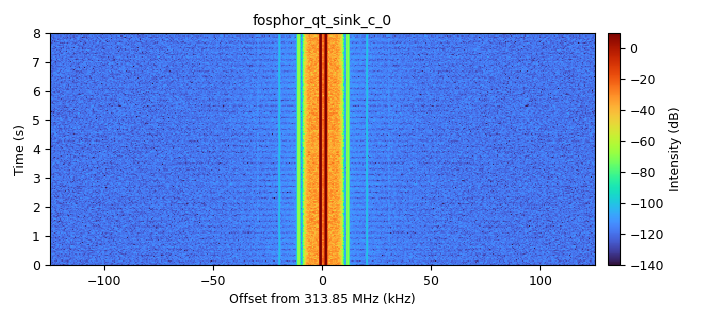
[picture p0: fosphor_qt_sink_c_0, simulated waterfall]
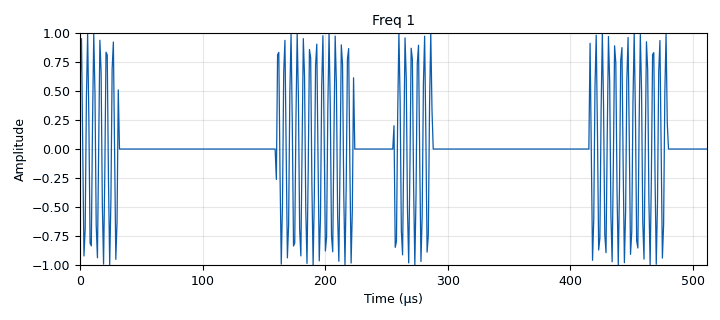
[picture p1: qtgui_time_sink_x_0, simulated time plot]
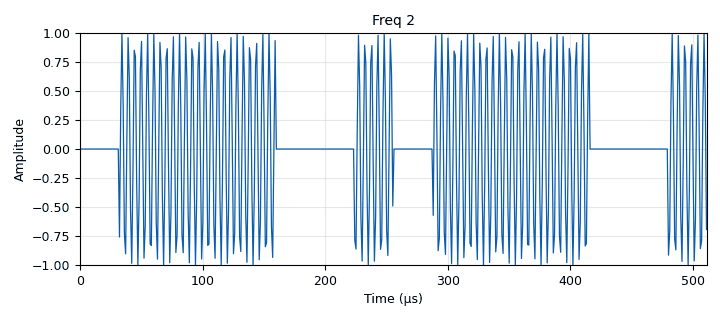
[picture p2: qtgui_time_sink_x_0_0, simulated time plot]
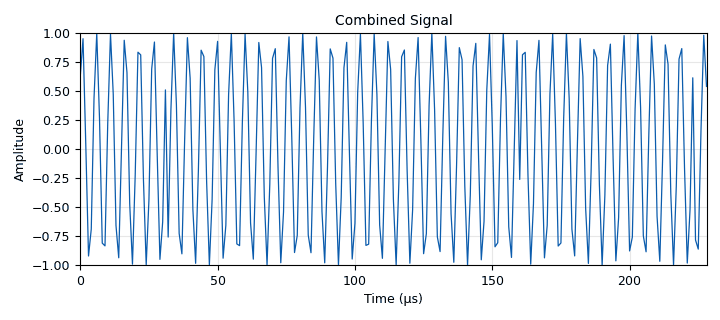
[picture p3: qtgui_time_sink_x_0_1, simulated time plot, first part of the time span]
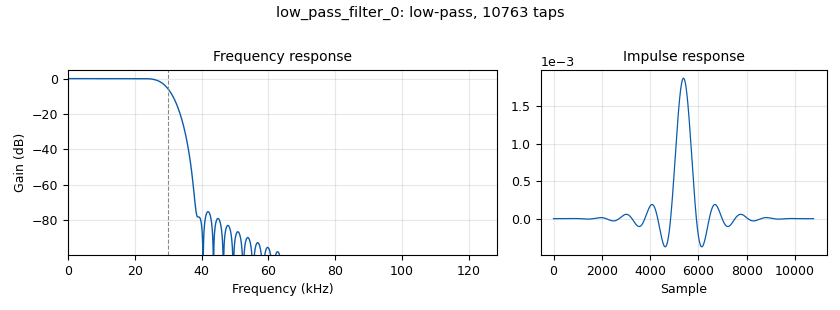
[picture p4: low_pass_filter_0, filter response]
<?xml version='1.0' encoding='utf-8'?>
<?grc format='1' created='3.7.13'?>
<flow_graph>
<block>
<key>options</key>
<param><key>id</key><value>top_block</value></param>
<param><key>author</key><value>Joshua Mack, Ezra Muir</value></param>
<param><key>generate_options</key><value>qt_gui</value></param>
<param><key>title</key><value>ECE531 Project - FSK Transmitter</value></param>
</block>
<block>
<key>variable</key>
<param><key>id</key><value>center_freq</value></param>
<param><key>value</key><value>313.85e6</value></param>
</block>
<block>
<key>variable</key>
<param><key>id</key><value>freq_offset</value></param>
<param><key>value</key><value>20e3</value></param>
</block>
<block>
<key>variable</key>
<param><key>id</key><value>int_scale</value></param>
<param><key>value</key><value>4096</value></param>
</block>
<block>
<key>variable</key>
<param><key>id</key><value>interpolation</value></param>
<param><key>value</key><value>32</value></param>
</block>
<block>
<key>variable_qtgui_range</key>
<param><key>id</key><value>lo_freq</value></param>
<param><key>value</key><value>313.85e6</value></param>
<param><key>orient</key><value>Qt.Horizontal</value></param>
<param><key>start</key><value>300e6</value></param>
<param><key>step</key><value>1e3</value></param>
<param><key>stop</key><value>500e6</value></param>
</block>
<block>
<key>variable_qtgui_range</key>
<param><key>id</key><value>samp_rate</value></param>
<param><key>value</key><value>1e6</value></param>
<param><key>orient</key><value>Qt.Horizontal</value></param>
<param><key>start</key><value>1e6</value></param>
<param><key>step</key><value>1e6</value></param>
<param><key>stop</key><value>50e6</value></param>
</block>
<block>
<key>variable</key>
<param><key>id</key><value>vlen</value></param>
<param><key>value</key><value>8</value></param>
</block>
<block>
<key>analog_const_source_x</key>
<param><key>id</key><value>analog_const_source_x_0</value></param>
<param><key>const</key><value>1</value></param>
<param><key>type</key><value>int</value></param>
</block>
<block>
<key>analog_const_source_x</key>
<param><key>id</key><value>analog_const_source_x_1</value></param>
<param><key>const</key><value>0</value></param>
<param><key>type</key><value>float</value></param>
</block>
<block>
<key>analog_fastnoise_source_x</key>
<param><key>id</key><value>analog_fastnoise_source_x_0</value></param>
<param><key>amp</key><value>8</value></param>
<param><key>noise_type</key><value>analog.GR_GAUSSIAN</value></param>
<param><key>type</key><value>int</value></param>
<param><key>seed</key><value>0</value></param>
<param><key>samples</key><value>8192</value></param>
</block>
<block>
<key>analog_sig_source_x</key>
<param><key>id</key><value>analog_sig_source_x_0</value></param>
<param><key>amp</key><value>int_scale</value></param>
<param><key>freq</key><value>center_freq + freq_offset</value></param>
<param><key>offset</key><value>0</value></param>
<param><key>type</key><value>int</value></param>
<param><key>samp_rate</key><value>samp_rate * interpolation</value></param>
<param><key>waveform</key><value>analog.GR_COS_WAVE</value></param>
</block>
<block>
<key>analog_sig_source_x</key>
<param><key>id</key><value>analog_sig_source_x_0_0</value></param>
<param><key>amp</key><value>int_scale</value></param>
<param><key>freq</key><value>center_freq - freq_offset</value></param>
<param><key>offset</key><value>0</value></param>
<param><key>type</key><value>int</value></param>
<param><key>samp_rate</key><value>samp_rate * interpolation</value></param>
<param><key>waveform</key><value>analog.GR_COS_WAVE</value></param>
</block>
<block>
<key>blocks_add_xx</key>
<param><key>id</key><value>blocks_add_xx_0</value></param>
<param><key>type</key><value>int</value></param>
</block>
<block>
<key>blocks_add_xx</key>
<param><key>id</key><value>blocks_add_xx_1</value></param>
<param><key>type</key><value>int</value></param>
</block>
<block>
<key>blocks_float_to_complex</key>
<param><key>id</key><value>blocks_float_to_complex_0</value></param>
</block>
<block>
<key>blocks_int_to_float</key>
<param><key>id</key><value>blocks_int_to_float_0</value></param>
<param><key>scale</key><value>int_scale</value></param>
</block>
<block>
<key>blocks_int_to_float</key>
<param><key>id</key><value>blocks_int_to_float_0_0</value></param>
<param><key>scale</key><value>int_scale</value></param>
</block>
<block>
<key>blocks_int_to_float</key>
<param><key>id</key><value>blocks_int_to_float_0_1</value></param>
<param><key>scale</key><value>int_scale</value></param>
</block>
<block>
<key>blocks_int_to_float</key>
<param><key>id</key><value>blocks_int_to_float_1</value></param>
<param><key>scale</key><value>1</value></param>
</block>
<block>
<key>blocks_multiply_xx</key>
<param><key>id</key><value>blocks_multiply_xx_1</value></param>
<param><key>type</key><value>int</value></param>
</block>
<block>
<key>blocks_multiply_xx</key>
<param><key>id</key><value>blocks_multiply_xx_1_0</value></param>
<param><key>type</key><value>int</value></param>
</block>
<block>
<key>blocks_repeat</key>
<param><key>id</key><value>blocks_repeat_0</value></param>
<param><key>interp</key><value>interpolation</value></param>
<param><key>type</key><value>int</value></param>
</block>
<block>
<key>blocks_stream_to_tagged_stream</key>
<param><key>id</key><value>blocks_stream_to_tagged_stream_0_0</value></param>
<param><key>len_tag_key</key><value>"packet_len"</value></param>
<param><key>packet_len</key><value>vlen * interpolation</value></param>
<param><key>type</key><value>int</value></param>
</block>
<block>
<key>blocks_sub_xx</key>
<param><key>id</key><value>blocks_sub_xx_0</value></param>
<param><key>type</key><value>int</value></param>
</block>
<block>
<key>blocks_throttle</key>
<param><key>id</key><value>blocks_throttle_0</value></param>
<param><key>samples_per_second</key><value>samp_rate</value></param>
<param><key>type</key><value>int</value></param>
</block>
<block>
<key>blocks_vector_source_x</key>
<param><key>id</key><value>blocks_vector_source_x_0</value></param>
<param><key>type</key><value>int</value></param>
<param><key>repeat</key><value>True</value></param>
<param><key>vlen</key><value>vlen</value></param>
<param><key>vector</key><value>(0, 1, 0, 1, 1, 1, 1, 0)</value></param>
</block>
<block>
<key>blocks_vector_to_stream</key>
<param><key>id</key><value>blocks_vector_to_stream_0</value></param>
<param><key>type</key><value>int</value></param>
<param><key>num_items</key><value>vlen</value></param>
</block>
<block>
<key>fosphor_qt_sink_c</key>
<param><key>id</key><value>fosphor_qt_sink_c_0</value></param>
<param><key>freq_center</key><value>lo_freq</value></param>
<param><key>freq_span</key><value>samp_rate/4</value></param>
</block>
<block>
<key>low_pass_filter</key>
<param><key>id</key><value>low_pass_filter_0</value></param>
<param><key>cutoff_freq</key><value>1.5*freq_offset</value></param>
<param><key>decim</key><value>interpolation</value></param>
<param><key>type</key><value>fir_filter_ccf</value></param>
<param><key>gain</key><value>1</value></param>
<param><key>samp_rate</key><value>samp_rate*interpolation</value></param>
<param><key>width</key><value>10e3</value></param>
<param><key>win</key><value>firdes.WIN_BLACKMAN</value></param>
</block>
<block>
<key>qtgui_time_sink_x</key>
<param><key>id</key><value>qtgui_time_sink_x_0</value></param>
<param><key>color1</key><value>"blue"</value></param>
<param><key>label1</key><value></value></param>
<param><key>name</key><value>"Freq 1"</value></param>
<param><key>size</key><value>512</value></param>
<param><key>srate</key><value>samp_rate</value></param>
<param><key>type</key><value>float</value></param>
</block>
<block>
<key>qtgui_time_sink_x</key>
<param><key>id</key><value>qtgui_time_sink_x_0_0</value></param>
<param><key>color1</key><value>"blue"</value></param>
<param><key>label1</key><value></value></param>
<param><key>name</key><value>"Freq 2"</value></param>
<param><key>size</key><value>512</value></param>
<param><key>srate</key><value>samp_rate</value></param>
<param><key>type</key><value>float</value></param>
</block>
<block>
<key>qtgui_time_sink_x</key>
<param><key>id</key><value>qtgui_time_sink_x_0_1</value></param>
<param><key>color1</key><value>"blue"</value></param>
<param><key>label1</key><value></value></param>
<param><key>name</key><value>"Combined Signal"</value></param>
<param><key>size</key><value>512</value></param>
<param><key>srate</key><value>samp_rate</value></param>
<param><key>type</key><value>float</value></param>
</block>
<connection><source_block_id>analog_const_source_x_0</source_block_id><sink_block_id>blocks_sub_xx_0</sink_block_id><source_key>0</source_key><sink_key>0</sink_key></connection>
<connection><source_block_id>analog_const_source_x_1</source_block_id><sink_block_id>blocks_float_to_complex_0</sink_block_id><source_key>0</source_key><sink_key>1</sink_key></connection>
<connection><source_block_id>analog_fastnoise_source_x_0</source_block_id><sink_block_id>blocks_add_xx_1</sink_block_id><source_key>0</source_key><sink_key>0</sink_key></connection>
<connection><source_block_id>analog_sig_source_x_0</source_block_id><sink_block_id>blocks_multiply_xx_1_0</sink_block_id><source_key>0</source_key><sink_key>1</sink_key></connection>
<connection><source_block_id>analog_sig_source_x_0_0</source_block_id><sink_block_id>blocks_multiply_xx_1</sink_block_id><source_key>0</source_key><sink_key>1</sink_key></connection>
<connection><source_block_id>blocks_add_xx_0</source_block_id><sink_block_id>blocks_add_xx_1</sink_block_id><source_key>0</source_key><sink_key>1</sink_key></connection>
<connection><source_block_id>blocks_add_xx_0</source_block_id><sink_block_id>blocks_int_to_float_0_1</sink_block_id><source_key>0</source_key><sink_key>0</sink_key></connection>
<connection><source_block_id>blocks_add_xx_1</source_block_id><sink_block_id>blocks_int_to_float_1</sink_block_id><source_key>0</source_key><sink_key>0</sink_key></connection>
<connection><source_block_id>blocks_float_to_complex_0</source_block_id><sink_block_id>low_pass_filter_0</sink_block_id><source_key>0</source_key><sink_key>0</sink_key></connection>
<connection><source_block_id>blocks_int_to_float_0</source_block_id><sink_block_id>qtgui_time_sink_x_0</sink_block_id><source_key>0</source_key><sink_key>0</sink_key></connection>
<connection><source_block_id>blocks_int_to_float_0_0</source_block_id><sink_block_id>qtgui_time_sink_x_0_0</sink_block_id><source_key>0</source_key><sink_key>0</sink_key></connection>
<connection><source_block_id>blocks_int_to_float_0_1</source_block_id><sink_block_id>qtgui_time_sink_x_0_1</sink_block_id><source_key>0</source_key><sink_key>0</sink_key></connection>
<connection><source_block_id>blocks_int_to_float_1</source_block_id><sink_block_id>blocks_float_to_complex_0</sink_block_id><source_key>0</source_key><sink_key>0</sink_key></connection>
<connection><source_block_id>blocks_multiply_xx_1</source_block_id><sink_block_id>blocks_add_xx_0</sink_block_id><source_key>0</source_key><sink_key>0</sink_key></connection>
<connection><source_block_id>blocks_multiply_xx_1</source_block_id><sink_block_id>blocks_int_to_float_0</sink_block_id><source_key>0</source_key><sink_key>0</sink_key></connection>
<connection><source_block_id>blocks_multiply_xx_1_0</source_block_id><sink_block_id>blocks_add_xx_0</sink_block_id><source_key>0</source_key><sink_key>1</sink_key></connection>
<connection><source_block_id>blocks_multiply_xx_1_0</source_block_id><sink_block_id>blocks_int_to_float_0_0</sink_block_id><source_key>0</source_key><sink_key>0</sink_key></connection>
<connection><source_block_id>blocks_repeat_0</source_block_id><sink_block_id>blocks_stream_to_tagged_stream_0_0</sink_block_id><source_key>0</source_key><sink_key>0</sink_key></connection>
<connection><source_block_id>blocks_stream_to_tagged_stream_0_0</source_block_id><sink_block_id>blocks_multiply_xx_1_0</sink_block_id><source_key>0</source_key><sink_key>0</sink_key></connection>
<connection><source_block_id>blocks_stream_to_tagged_stream_0_0</source_block_id><sink_block_id>blocks_sub_xx_0</sink_block_id><source_key>0</source_key><sink_key>1</sink_key></connection>
<connection><source_block_id>blocks_sub_xx_0</source_block_id><sink_block_id>blocks_multiply_xx_1</sink_block_id><source_key>0</source_key><sink_key>0</sink_key></connection>
<connection><source_block_id>blocks_throttle_0</source_block_id><sink_block_id>blocks_repeat_0</sink_block_id><source_key>0</source_key><sink_key>0</sink_key></connection>
<connection><source_block_id>blocks_vector_source_x_0</source_block_id><sink_block_id>blocks_vector_to_stream_0</sink_block_id><source_key>0</source_key><sink_key>0</sink_key></connection>
<connection><source_block_id>blocks_vector_to_stream_0</source_block_id><sink_block_id>blocks_throttle_0</sink_block_id><source_key>0</source_key><sink_key>0</sink_key></connection>
<connection><source_block_id>low_pass_filter_0</source_block_id><sink_block_id>fosphor_qt_sink_c_0</sink_block_id><source_key>0</source_key><sink_key>0</sink_key></connection>
</flow_graph>
